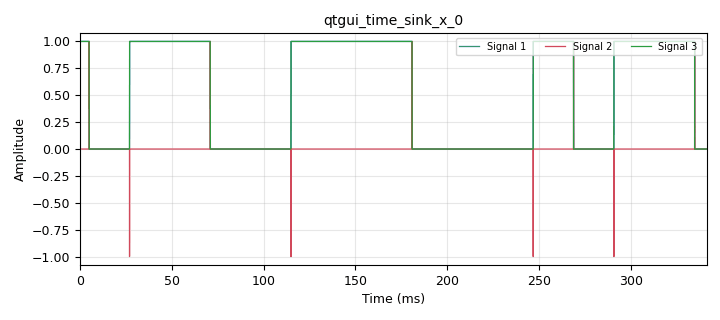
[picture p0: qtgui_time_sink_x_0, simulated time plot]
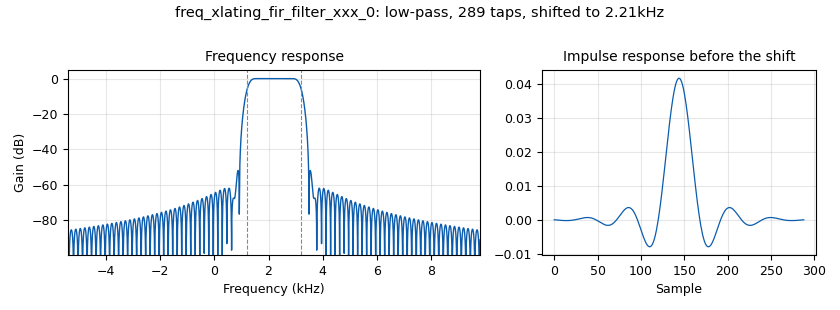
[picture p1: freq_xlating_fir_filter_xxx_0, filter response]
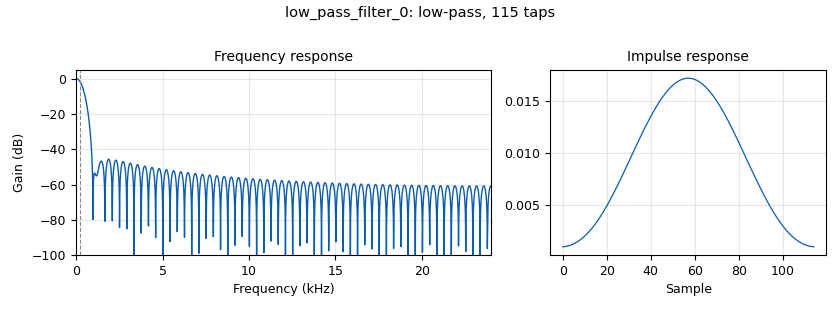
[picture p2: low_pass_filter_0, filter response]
options:
  parameters:
    author: David Knuth
    generate_options: qt_gui
    id: fsk_tut
    output_language: python
    title: FSK Example
  states: {}

blocks:
- name: baud
  id: variable
  parameters:
    value: '45.4545'
  states: {}
- name: center
  id: variable
  parameters:
    value: 2.21e3
  states: {}
- name: delay
  id: variable_qtgui_range
  parameters:
    label: Delay
    orient: Qt.Horizontal
    start: '0'
    step: '1'
    stop: '250'
    value: '200'
  states: {}
- name: fsk_deviation
  id: variable
  parameters:
    value: '170'
  states: {}
- name: inp_amp
  id: variable
  parameters:
    value: '.068'
  states: {}
- name: repeat
  id: variable
  parameters:
    value: (int)(samp_rate*0.022)
  states: {}
- name: samp_rate
  id: variable
  parameters:
    value: 48e3
  states: {}
- name: sq_lvl
  id: variable_qtgui_range
  parameters:
    label: Squelch
    orient: Qt.Horizontal
    start: '-100'
    step: '5'
    stop: '0'
    value: '-70'
  states: {}
- name: vco_max
  id: variable
  parameters:
    value: '2500'
  states: {}
- name: vco_offset
  id: variable
  parameters:
    value: '.85'
  states: {}
- name: analog_quadrature_demod_cf_0
  id: analog_quadrature_demod_cf
  parameters:
    gain: '128177'
  states: {}
- name: analog_random_source_x_0
  id: analog_random_source_x
  parameters:
    max: '256'
    min: '0'
    num_samps: '1024'
    repeat: 'True'
    type: byte
  states: {}
- name: analog_simple_squelch_cc_0
  id: analog_simple_squelch_cc
  parameters:
    alpha: '1'
    threshold: sq_lvl
  states: {}
- name: blocks_add_const_vxx_0
  id: blocks_add_const_vxx
  parameters:
    const: vco_offset
    type: float
  states: {}
- name: blocks_delay_0
  id: blocks_delay
  parameters:
    delay: delay
    type: float
  states: {}
- name: blocks_multiply_const_vxx_0
  id: blocks_multiply_const_vxx
  parameters:
    const: inp_amp
    type: float
  states: {}
- name: blocks_repeat_0
  id: blocks_repeat
  parameters:
    interp: repeat
    type: byte
  states: {}
- name: blocks_sub_xx_0
  id: blocks_sub_xx
  parameters:
    type: float
  states: {}
- name: blocks_throttle_0
  id: blocks_throttle
  parameters:
    samples_per_second: samp_rate
    type: byte
  states: {}
- name: blocks_uchar_to_float_0
  id: blocks_uchar_to_float
  parameters: {}
  states: {}
- name: blocks_uchar_to_float_1
  id: blocks_uchar_to_float
  parameters: {}
  states: {}
- name: blocks_unpack_k_bits_bb_0
  id: blocks_unpack_k_bits_bb
  parameters:
    k: '8'
  states: {}
- name: blocks_vco_f_0
  id: blocks_vco_f
  parameters:
    amplitude: '0.5'
    samp_rate: samp_rate
    sensitivity: 15.708e3
  states: {}
- name: digital_binary_slicer_fb_0
  id: digital_binary_slicer_fb
  parameters: {}
  states: {}
- name: freq_xlating_fir_filter_xxx_0
  id: freq_xlating_fir_filter_xxx
  parameters:
    center_freq: center
    decim: '1'
    samp_rate: samp_rate
    taps: firdes.low_pass(1.0,samp_rate,1000,400)
    type: fcc
  states: {}
- name: low_pass_filter_0
  id: low_pass_filter
  parameters:
    cutoff_freq: '200'
    decim: '1'
    gain: '1'
    samp_rate: samp_rate
    type: fir_filter_fff
    width: 1e3
    win: firdes.WIN_HAMMING
  states: {}
- name: qtgui_time_sink_x_0
  id: qtgui_time_sink_x
  parameters:
    nconnections: '3'
    size: '16384'
    srate: samp_rate
    type: float
  states: {}
- name: virtual_sink_0
  id: virtual_sink
  parameters:
    stream_id: '"xmt_data"'
  states: {}
- name: virtual_sink_1
  id: virtual_sink
  parameters:
    stream_id: '"fsk_out"'
  states: {}
- name: virtual_source_0
  id: virtual_source
  parameters:
    stream_id: '"xmt_data"'
  states: {}
- name: virtual_source_1
  id: virtual_source
  parameters:
    stream_id: '"fsk_out"'
  states: {}
- name: virtual_source_2
  id: virtual_source
  parameters:
    stream_id: '"xmt_data"'
  states: {}

connections:
- [analog_quadrature_demod_cf_0, '0', digital_binary_slicer_fb_0, '0']
- [analog_random_source_x_0, '0', blocks_unpack_k_bits_bb_0, '0']
- [analog_simple_squelch_cc_0, '0', analog_quadrature_demod_cf_0, '0']
- [blocks_add_const_vxx_0, '0', blocks_vco_f_0, '0']
- [blocks_delay_0, '0', blocks_sub_xx_0, '1']
- [blocks_delay_0, '0', qtgui_time_sink_x_0, '2']
- [blocks_multiply_const_vxx_0, '0', blocks_add_const_vxx_0, '0']
- [blocks_repeat_0, '0', blocks_throttle_0, '0']
- [blocks_sub_xx_0, '0', qtgui_time_sink_x_0, '1']
- [blocks_throttle_0, '0', blocks_uchar_to_float_0, '0']
- [blocks_uchar_to_float_0, '0', virtual_sink_0, '0']
- [blocks_uchar_to_float_1, '0', blocks_sub_xx_0, '0']
- [blocks_uchar_to_float_1, '0', qtgui_time_sink_x_0, '0']
- [blocks_unpack_k_bits_bb_0, '0', blocks_repeat_0, '0']
- [blocks_vco_f_0, '0', virtual_sink_1, '0']
- [digital_binary_slicer_fb_0, '0', blocks_uchar_to_float_1, '0']
- [freq_xlating_fir_filter_xxx_0, '0', analog_simple_squelch_cc_0, '0']
- [low_pass_filter_0, '0', blocks_multiply_const_vxx_0, '0']
- [virtual_source_0, '0', low_pass_filter_0, '0']
- [virtual_source_1, '0', freq_xlating_fir_filter_xxx_0, '0']
- [virtual_source_2, '0', blocks_delay_0, '0']

metadata:
  file_format: 1
